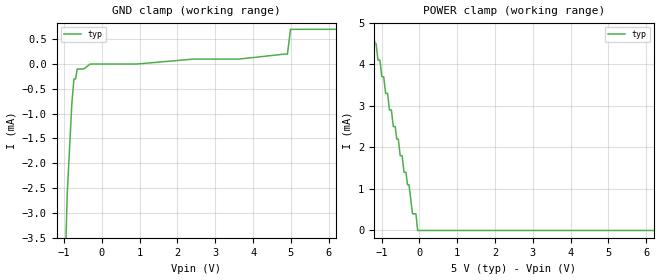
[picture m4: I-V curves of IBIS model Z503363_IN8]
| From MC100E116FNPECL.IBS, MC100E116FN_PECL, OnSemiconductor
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| (C) COPYRIGHT 1993-2000
| MENTOR GRAPHICS CORPORATION
| ICX STANDARD LIBRARY, ICX PROJECT MODELING,
| ICX CUSTOM MODELING, ICX VENDOR MODEL
| ALL RIGHTS RESERVED.
| THE FOLLOWING ARE TRADEMARKS OR SERVICE MARKS OF
| MENTOR GRAPHICS CORPORATION:ICX (R), ICX STANDARD
| LIBRARY(R), ICX PROJECT MODELING(R), ICX CUSTOM
| MODELING(R), qualityIBIS(TM), MODELVIEWER(TM),
| AND MODELEDITOR(TM)
| ALL COPIES OF SOFTWARE, INCLUDING BUT NOT LIMITED TO
| ANY MODIFICATIONS, ENHANCEMENTS OR DERIVATIVE WORKS,
| MUST CONTAIN ALL MENTOR GRAPHICS CORPORATION'S
| NOTICES AND LEGENDS, INCLUDING THOSE EMBEDDED IN
| SOFTWARE AND THOSE AFFIXED TO SOFTWARE MEDIUM
| AND CONTAINER, AS RECEIVED FROM MENTOR GRAPHICS
| CORPORATION.
| Model Application Version 1.89 2/18/99.
[Model] Z503363_IN8
Model_type Input_ECL
Vinl = 3.525V
Vinh = 3.835V
C_comp 4.000pF NA NA
| variable typ   min   max
[Voltage Range] 5.000V NA NA
[GND Clamp Reference] 0.000V NA NA
[POWER Clamp Reference] 5.000V NA NA
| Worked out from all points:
|   GND clamp passes 1 mA (typ) near -0.81 V on its own axis
|   POWER clamp passes 1 mA (typ) near -0.26 V on its own axis
[GND Clamp]
-5V       -153.3mA   NA         NA
-1.079V   -7mA       NA         NA
-916mV    -2.6mA     NA         NA
-795mV    -800uA     NA         NA
-739.3mV  -300uA     NA         NA
-696.1mV  -300uA     NA         NA
-653mV    -100uA     NA         NA
-311.3mV  0A         NA         NA
3.631V    100uA      NA         NA
4.909V    200uA      NA         NA
4.99V     700uA      NA         NA
10V       700uA      NA         NA
[POWER Clamp]
-5V       29.57mA    NA         NA
-1.147V   4.5mA      NA         NA
-1.096V   4.1mA      NA         NA
-1.045V   4.1mA      NA         NA
-994.5mV  3.7mA      NA         NA
-842mV    3.3mA      NA         NA
-690mV    2.5mA      NA         NA
-274mV    1.1mA      NA         NA
-182.5mV  400uA      NA         NA
-91mV     400uA      NA         NA
-45.5mV   0A         NA         NA
10V       0A         NA         NA
